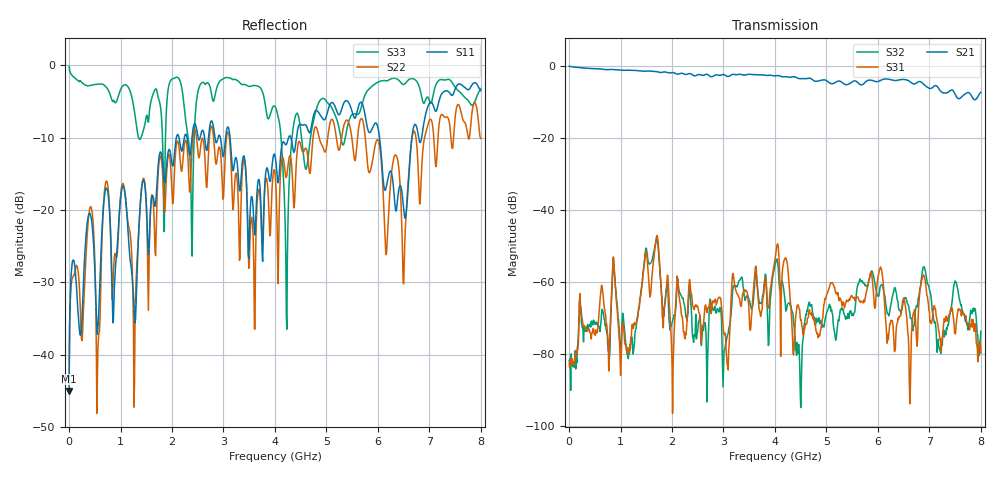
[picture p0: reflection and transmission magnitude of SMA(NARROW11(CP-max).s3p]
!Keysight Technologies,E5080B,MY59100962,A.19.30.08
!Date: Friday, May 30, 2025 15:29:30
!Correction: S11(C  3-Port  )
!S12(C  3-Port  )
!S13(C  3-Port  )
!S21(C  3-Port  )
!S22(C  3-Port  )
!S23(C  3-Port  )
!S31(C  3-Port  )
!S32(C  3-Port  )
!S33(C  3-Port  )
!S3P File: Measurements: <S11,S12,S13>,
!<S21,S22,S23>,
!<S31,S32,S33>:
# Hz S  dB  R 50
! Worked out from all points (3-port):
!   801 points, 1 MHz to 8 GHz, reference 50 ohm
!   strongest paths, dB at 1 MHz, 2.001 GHz, 4 GHz, 6 GHz, 8 GHz:
!     S21: -0.1, -1.8, -2.8, -4.3, -7.3
!     S31: -82.6, -82.9, -53.8, -58.8, -79.7
!     S32: -81.9, -71.4, -55.3, -63.9, -73.6
!   lowest |S11| = -45.0 dB at 1 MHz (marker M1), VSWR 1.01, Z = 50.5 + j0.22 ohm
!   |S11| at or under -10 dB: start of sweep to 2.085 GHz; 3.127 GHz to 4.264 GHz (1.137 GHz wide, 30.8 % of centre); 6.032 GHz to 6.66 GHz (628.1 MHz wide, 9.9 % of centre)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
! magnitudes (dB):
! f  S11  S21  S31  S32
! 1 MHz  -45.0  -0.1  -82.6  -81.9
! 870.9 MHz  -32.9  -1.0  -54.9  -55.0
! 1.141 GHz  -22.5  -1.2  -79.0  -80.8
! 1.691 GHz  -18.3  -1.5  -48.1  -48.4
! 2.011 GHz  -13.9  -1.8  -96.5  -71.0
! 4 GHz  -12.5  -2.8  -53.8  -55.3
! 4.22 GHz  -10.9  -3.0  -53.7  -67.8
! 4.48 GHz  -8.1  -3.5  -67.8  -83.0
! 6.89 GHz  -8.1  -5.1  -58.0  -55.7
! 8 GHz  -3.5  -7.3  -79.7  -73.6
